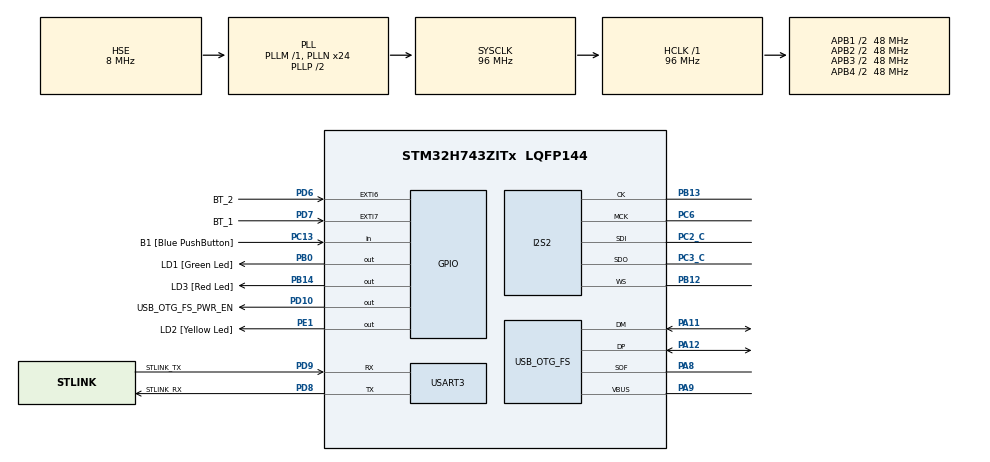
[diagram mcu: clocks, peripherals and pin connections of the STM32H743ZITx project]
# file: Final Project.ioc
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Dma.Request0=SPI2_TX
Dma.Request1=SPI2_RX
Dma.SPI2_RX.1.Direction=DMA_PERIPH_TO_MEMORY
Dma.SPI2_RX.1.EventEnable=DISABLE
Dma.SPI2_RX.1.FIFOMode=DMA_FIFOMODE_DISABLE
Dma.SPI2_RX.1.Instance=DMA1_Stream3
Dma.SPI2_RX.1.MemDataAlignment=DMA_MDATAALIGN_HALFWORD
Dma.SPI2_RX.1.MemInc=DMA_MINC_ENABLE
Dma.SPI2_RX.1.Mode=DMA_CIRCULAR
Dma.SPI2_RX.1.PeriphDataAlignment=DMA_PDATAALIGN_HALFWORD
Dma.SPI2_RX.1.PeriphInc=DMA_PINC_DISABLE
Dma.SPI2_RX.1.Polarity=HAL_DMAMUX_REQ_GEN_RISING
Dma.SPI2_RX.1.Priority=DMA_PRIORITY_HIGH
Dma.SPI2_RX.1.RequestNumber=1
Dma.SPI2_RX.1.SignalID=NONE
Dma.SPI2_RX.1.SyncEnable=DISABLE
Dma.SPI2_RX.1.SyncPolarity=HAL_DMAMUX_SYNC_NO_EVENT
Dma.SPI2_RX.1.SyncRequestNumber=1
Dma.SPI2_RX.1.SyncSignalID=NONE
Dma.SPI2_TX.0.Direction=DMA_MEMORY_TO_PERIPH
Dma.SPI2_TX.0.EventEnable=DISABLE
Dma.SPI2_TX.0.FIFOMode=DMA_FIFOMODE_DISABLE
Dma.SPI2_TX.0.Instance=DMA1_Stream4
Dma.SPI2_TX.0.MemDataAlignment=DMA_MDATAALIGN_HALFWORD
Dma.SPI2_TX.0.MemInc=DMA_MINC_ENABLE
Dma.SPI2_TX.0.Mode=DMA_CIRCULAR
Dma.SPI2_TX.0.PeriphDataAlignment=DMA_PDATAALIGN_HALFWORD
Dma.SPI2_TX.0.PeriphInc=DMA_PINC_DISABLE
Dma.SPI2_TX.0.Polarity=HAL_DMAMUX_REQ_GEN_RISING
Dma.SPI2_TX.0.Priority=DMA_PRIORITY_HIGH
Dma.SPI2_TX.0.RequestNumber=1
Dma.SPI2_TX.0.SignalID=NONE
Dma.SPI2_TX.0.SyncEnable=DISABLE
Dma.SPI2_TX.0.SyncPolarity=HAL_DMAMUX_SYNC_NO_EVENT
Dma.SPI2_TX.0.SyncRequestNumber=1
Dma.SPI2_TX.0.SyncSignalID=NONE
I2S2.AudioFreq=I2S_AUDIOFREQ_48K
I2S2.DataFormat=I2S_DATAFORMAT_16B_EXTENDED
I2S2.ErrorAudioFreq=4.16 %
I2S2.Instance=SPI$Index
I2S2.RealAudioFreq=50.0 KHz
Mcu.Family=STM32H7
Mcu.Name=STM32H743ZITx
Mcu.Package=LQFP144
NVIC.DMA1_Stream3_IRQn=true\:0\:0\:false\:false\:true\:false\:true
NVIC.DMA1_Stream4_IRQn=true\:0\:0\:false\:false\:true\:false\:true
NVIC.PriorityGroup=NVIC_PRIORITYGROUP_4
NVIC.SPI2_IRQn=true\:0\:0\:false\:false\:true\:true\:true
PA1.Signal=ETH_REF_CLK
PA11.Mode=Device_Only
PA11.Signal=USB_OTG_FS_DM
PA12.Mode=Device_Only
PA12.Signal=USB_OTG_FS_DP
PA2.Signal=ETH_MDIO
PA7.Signal=ETH_CRS_DV
PA8.Mode=Activate_SOF_FS
PA8.Signal=USB_OTG_FS_SOF
PA9.Mode=Activate_VBUS
PA9.Signal=USB_OTG_FS_VBUS
PB0.GPIO_Label=LD1 [Green Led]
PB0.Signal=GPIO_Output
PB12.Mode=Full_Duplex_Master
PB12.Signal=I2S2_WS
PB13.Mode=Full_Duplex_Master
PB13.Signal=I2S2_CK
PB14.GPIO_Label=LD3 [Red Led]
PB14.Signal=GPIO_Output
PC1.Signal=ETH_MDC
PC13.GPIO_Label=B1 [Blue PushButton]
PC13.Signal=GPIO_Input
PC14-OSC32_IN\ (OSC32_IN).Mode=LSE-External-Oscillator
PC14-OSC32_IN\ (OSC32_IN).Signal=RCC_OSC32_IN
PC15-OSC32_OUT\ (OSC32_OUT).Mode=LSE-External-Oscillator
PC15-OSC32_OUT\ (OSC32_OUT).Signal=RCC_OSC32_OUT
PC2_C.Mode=Full_Duplex_Master
PC2_C.Signal=I2S2_SDI
PC3_C.Mode=Full_Duplex_Master
PC3_C.Signal=I2S2_SDO
PC4.Signal=ETH_RXD0
PC5.Signal=ETH_RXD1
PC6.Mode=Master_Clock_Activated
PC6.Signal=I2S2_MCK
PD10.GPIO_Label=USB_OTG_FS_PWR_EN
PD10.Signal=GPIO_Output
PD6.GPIO_Label=BT_2
PD6.GPIO_ModeDefaultEXTI=GPIO_MODE_IT_FALLING
PD6.Signal=GPXTI6
PD7.GPIO_Label=BT_1
PD7.GPIO_ModeDefaultEXTI=GPIO_MODE_IT_FALLING
PD7.Signal=GPXTI7
PD8.GPIO_Label=STLINK_RX
PD8.Mode=Asynchronous
PD8.Signal=USART3_TX
PD9.GPIO_Label=STLINK_TX
PD9.Mode=Asynchronous
PD9.Signal=USART3_RX
PE1.GPIO_Label=LD2 [Yellow Led]
PE1.Signal=GPIO_Output
PG11.Signal=ETH_TX_EN
PG13.Signal=ETH_TXD0
PH0-OSC_IN\ (PH0).Mode=HSE-External-Clock-Source
PH0-OSC_IN\ (PH0).Signal=RCC_OSC_IN
PH1-OSC_OUT\ (PH1).Signal=RCC_OSC_OUT
ProjectManager.HeapSize=0x200
ProjectManager.StackSize=0x400
ProjectManager.TargetToolchain=STM32CubeIDE
RCC.ADCFreq_Value=16125000
RCC.APB1Freq_Value=48000000
RCC.APB2Freq_Value=48000000
RCC.APB3Freq_Value=48000000
RCC.APB4Freq_Value=48000000
RCC.CortexFreq_Value=96000000
RCC.D1PPRE=RCC_APB3_DIV2
RCC.D2PPRE1=RCC_APB1_DIV2
RCC.D2PPRE2=RCC_APB2_DIV2
RCC.D3PPRE=RCC_APB4_DIV2
RCC.DIVM1=1
RCC.DIVN1=24
RCC.DIVQ1=3
RCC.HCLKFreq_Value=96000000
RCC.HSE_VALUE=8000000
RCC.PLL2FRACN=0
RCC.PLL3FRACN=0
RCC.PLLFRACN=0
RCC.PWR_Regulator_Voltage_Scale=PWR_REGULATOR_VOLTAGE_SCALE2
RCC.SYSCLKFreq_VALUE=96000000
RCC.SYSCLKSource=RCC_SYSCLKSOURCE_PLLCLK
RCC.USBFreq_Value=64000000
TIM1.Period=11999
TIM1.TIM_MasterOutputTrigger=TIM_TRGO_UPDATE
USART3.VirtualMode-Asynchronous=VM_ASYNC
USB_OTG_FS.VirtualMode=Device_Only
VP_TIM1_VS_ClockSourceINT.Mode=Internal
board=NUCLEO-H743ZI2

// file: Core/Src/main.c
/* USER CODE BEGIN Header */
/**
  ******************************************************************************
  * @file           : main.c
  * @brief          : Main program body
  ******************************************************************************
  * @attention
  *
  * Copyright (c) 2022 STMicroelectronics.
  * All rights reserved.
  *
  * This software is licensed under terms that can be found in the LICENSE file
  * in the root directory of this software component.
  * If no LICENSE file comes with this software, it is provided AS-IS.
  *
  ******************************************************************************
  */
/* USER CODE END Header */
#include "main.h"

I2S_HandleTypeDef hi2s2;
DMA_HandleTypeDef hdma_spi2_tx;
DMA_HandleTypeDef hdma_spi2_rx;

TIM_HandleTypeDef htim1;

UART_HandleTypeDef huart3;

PCD_HandleTypeDef hpcd_USB_OTG_FS;

void SystemClock_Config(void);
static void MX_GPIO_Init(void);
static void MX_USART3_UART_Init(void);
static void MX_DMA_Init(void);
static void MX_I2S2_Init(void);
static void MX_USB_OTG_FS_PCD_Init(void);
static void MX_TIM1_Init(void);

/* USER CODE BEGIN 0 */
#define BUF_SIZE 8
#define SAMPLE_RATE 48000 //Hz

//used for delay effect
#define DELAY_TIME 0.2 //seconds
#define DELAY_LENGTH (SAMPLE_RATE * DELAY_TIME)

uint16_t rxBuf[BUF_SIZE];
uint16_t txBuf[BUF_SIZE];

int effect_state = 1; //this variable can be any value from 1 to 8
//each value corresponds to a different effect
// 1-tremolo
// 2-chorus
// 3-reverb
// 4-vibrato
// 5-flanger
// 6-delay
// 7-wah
// 8-distortion

// Tremolo effect
int tremoloDirection = 1; // 0 is up, 1 is down
float tremoloLowerThresh = 0.1;
float tremoloUpperThresh = 1.0;
float tremoloSpeed = 0.00005;
float tremoloMod = 1.0;

int tremolo(int sample) {
	// multiple sample by triangle wave from 0.5 to 1
	// 0 means go down, 1 means go up

	float fSample = (float)sample;
	if (tremoloDirection == 0){
		tremoloMod = tremoloMod + tremoloSpeed;
	}
	else{
		tremoloMod = tremoloMod - tremoloSpeed;
	}
	if (tremoloMod <= tremoloLowerThresh){
		tremoloDirection = 0;
	}
	else if (tremoloMod >= tremoloUpperThresh){
		tremoloDirection = 1;
	}
	fSample = tremoloMod*fSample;
	return (int)fSample;
}

// Chorus effect
int chorusCurrentVal_1 = 0;
float chorusDelay_1 = 0.050*SAMPLE_RATE;
//float chorusCircleBuff_1[(int)chorusDelay_1];
float chorusCircleBuff_1[1200];
int chorusCurrentVal_2 = 0;
float chorusDelay_2 = 0.025*SAMPLE_RATE;
//float chorusCircleBuff_2[(int)chorusDelay_2];
float chorusCircleBuff_2[480];
float chorusGain = 1.0;
int chorus(int sample) {
	float fSample = (float)sample;
	float newest = fSample;
	chorusCircleBuff_1[chorusCurrentVal_1] = newest;
	chorusCircleBuff_2[chorusCurrentVal_2] = newest;
	chorusCurrentVal_1++;
	chorusCurrentVal_2++;
	//if (currentVal_1 == chorusDelay_1 - 1)
if (chorusCurrentVal_1 == (1200 - 1))
	{
	chorusCurrentVal_1 = 0;
	}
	if (chorusCurrentVal_2 == (480 - 1))
	{
		chorusCurrentVal_2 = 0;
	}

	float chorusReturnVal_1 = chorusCircleBuff_1[chorusCurrentVal_1];
	float chorusReturnVal_2 = chorusCircleBuff_2[chorusCurrentVal_2];
	fSample = chorusReturnVal_1*chorusGain + chorusReturnVal_2*chorusGain  + newest;
	return (int)fSample;
}

// Reverb effect
int reverbCurrentVal_1 = 0;
int reverbCurrentVal_2 = 0;
int reverbCurrentVal_3 = 0;
int reverbCurrentVal_4 = 0;

int reverbLength_1 = 901*4;
int reverbLength_2 = 778*4;
int reverbLength_3 = 1011*4;
int reverbLength_4 = 1123*4;

float reverbCircBuff_1[901*4];
float reverbCircBuff_2[778*4];
float reverbCircBuff_3[1011*4];
float reverbCircBuff_4[1123*4];

float reverbGain_1 = 0.805;
float reverbGain_2 = 0.827;
float reverbGain_3 = 0.783;
float reverbGain_4 = 0.764;

int reverbCurrentVal_5 = 0;
int reverbCurrentVal_6 = 0;
int reverbCurrentVal_7 = 0;

int reverbLength_5 = 125*4;
int reverbLength_6 = 42*4;
int reverbLength_7 = 12*4;

float reverbCircBuff_5[125*4];
float reverbCircBuff_6[42*4];
float reverbCircBuff_7[12*4];

float reverbGain_5 = 0.7;
float reverbGain_6 = 0.7;
float reverbGain_7 = 0.7;

float reverbMix = 0.3;

int reverb(int sample){
	float fSample = (float)sample;
	float fSample_1 = (float)sample;

	float returnVal_1 = reverbCircBuff_1[reverbCurrentVal_1];
	float returnVal_2 = reverbCircBuff_2[reverbCurrentVal_2];
	float returnVal_3 = reverbCircBuff_3[reverbCurrentVal_3];
	float returnVal_4 = reverbCircBuff_4[reverbCurrentVal_4];

	float newest_1 = returnVal_1*reverbGain_1 + fSample;
	float newest_2 = returnVal_2*reverbGain_2 + fSample;
	float newest_3 = returnVal_3*reverbGain_3 + fSample;
	float newest_4 = returnVal_4*reverbGain_4 + fSample;

	reverbCircBuff_1[reverbCurrentVal_1] = newest_1;
	reverbCircBuff_2[reverbCurrentVal_2] = newest_2;
	reverbCircBuff_3[reverbCurrentVal_3] = newest_3;
	reverbCircBuff_4[reverbCurrentVal_4] = newest_4;

	reverbCurrentVal_1++;
	reverbCurrentVal_2++;
	reverbCurrentVal_3++;
	reverbCurrentVal_4++;

	if (reverbCurrentVal_1 == reverbLength_1 - 1){
		reverbCurrentVal_1 = 0;
	}
	if (reverbCurrentVal_2 == reverbLength_2 - 1){
		reverbCurrentVal_2 = 0;
	}
	if (reverbCurrentVal_3 == reverbLength_3 - 1){
		reverbCurrentVal_3 = 0;
	}
	if (reverbCurrentVal_4 == reverbLength_4 - 1){
		reverbCurrentVal_4 = 0;
	}

	fSample = (returnVal_1 + returnVal_2 + returnVal_3 + returnVal_4)/4;

	float returnVal_5 = reverbCircBuff_5[reverbCurrentVal_5];
	returnVal_5 = fSample - returnVal_5*reverbGain_5;
	float newest_5 = fSample + returnVal_5*reverbGain_5;
	reverbCircBuff_5[reverbCurrentVal_5] = newest_5;
	reverbCurrentVal_5++;
	if (reverbCurrentVal_5 == reverbLength_5 - 1){
		reverbCurrentVal_5 = 0;
	}
	fSample = returnVal_5;
	float returnVal_6 = reverbCircBuff_6[reverbCurrentVal_6];
	returnVal_6 = fSample - returnVal_6*reverbGain_6;
	float newest_6 = fSample + returnVal_6*reverbGain_6;
	reverbCircBuff_6[reverbCurrentVal_6] = newest_6;
	reverbCurrentVal_6++;
	if (reverbCurrentVal_6 == reverbLength_6 - 1){
		reverbCurrentVal_6 = 0;
	}
	fSample = returnVal_6;
	float returnVal_7 = reverbCircBuff_7[reverbCurrentVal_7];
	returnVal_7 = fSample - returnVal_7*reverbGain_7;
	float newest_7 = fSample + returnVal_7*reverbGain_7;
	reverbCircBuff_7[reverbCurrentVal_7] = newest_7;
	reverbCurrentVal_7++;
	if (reverbCurrentVal_7 == reverbLength_7 - 1){
		reverbCurrentVal_7 = 0;
	}
	fSample = returnVal_7*reverbMix + (1 - reverbMix)*fSample_1;

	return (int)fSample;
}

// Vibrato effect
int vibratoCurrentVal = 0;
//int vibratoBufferLength = 0.01*SAMPLE_RATE; // equals 480. 10 ms buffer
int vibratoBufferLength = 480*2;
int vibratoModLength = 240*2;
// circle buff length is BUFFER + WIDTH + WIDTH
//float vibratoCircleBuff[vibratoBufferLength];
//int vibratoBufferLengthFull = vibratoBufferLength + vibratoModLength + vibratoModLength;
int vibratoBufferLengthFull = 480*2 + 240*2 + 240*2;
//float vibratoCircleBuff[vibratoBufferLengthFull];
float vibratoCircleBuff[(480+240+240)*2];
//float vibratoSinCal;
float vibratoFreq = 5.0/48000.0; // frequency of 5 Hz

int vibrato(int sample){
//	sample = sample/4;
	float fSample = (float)sample;
	float newest = fSample;
	vibratoCircleBuff[vibratoCurrentVal] = newest;
	vibratoCurrentVal++;

	if (vibratoCurrentVal == (vibratoBufferLengthFull-1)){
		vibratoCurrentVal = 0;
	}
	float vibratoCurrentValF = (float)vibratoCurrentVal;
	float vibratoSinCalc = (float)sin(vibratoFreq*2*M_PI*vibratoCurrentValF);
//	float vibratoSinCalc = 0.001;
//	float vibratoCalc = (float)vibratoBufferLength + (float)vibratoModLength + (float)(vibratoModLength)*vibratoSinCalc - 1.0f;
	float vibratoCalc = (float)vibratoBufferLength + (float)(vibratoModLength)*vibratoSinCalc - 1.0f;
//	float vibratoCalc = 958.0;
	float vibratoCalcRemainder = vibratoCalc - floor(vibratoCalc);
	int vibratoCalcInt = (int)floor(vibratoCalc);
//	int vibratoCalcInt = 20;
	int vibratoReturnInt;
	if (vibratoCalcInt % 2 == 0){
		vibratoReturnInt = (vibratoCurrentVal + vibratoCalcInt) % (vibratoBufferLengthFull-1);
	}
	else{
		vibratoReturnInt = (vibratoCurrentVal + vibratoCalcInt - 1) % (vibratoBufferLengthFull-1);
	}
	int vibratoReturnInt2 = vibratoReturnInt - 2;
	if (vibratoReturnInt2 < 0){
		vibratoReturnInt2 = vibratoReturnInt2 + vibratoBufferLengthFull;
	}
	float vibratoReturnVal = vibratoCalcRemainder*vibratoCircleBuff[vibratoReturnInt] + (1- vibratoCalcRemainder)*vibratoCircleBuff[vibratoReturnInt2];
	//float vibratoReturnVal = vibratoCircleBuff[vibratoCurrentVal];
	return (int)vibratoReturnVal;
}

//Wah effect
float wahDamping = 0.05;
int wahDirection = 0; // 0 is up, 1 is down
float wahLowerThresh = 500.0;
float wahUpperThresh = 3000.0;
float wahSpeed = 48000/SAMPLE_RATE;
float wahMod = 500.0;
float wahHighpass = 0;
float wahLowpass = 0;
float wahBandpass = 0;

int wah(int sample)
{
	float fSample = (float)sample;

	if (wahDirection == 0){
		wahMod = wahMod + wahSpeed;
	}
	else{
		wahMod = wahMod - wahSpeed;
	}
	if (wahMod <= wahLowerThresh){
		wahDirection = 0;
	}
	else if (wahMod >= wahUpperThresh){
		wahDirection = 1;
	}

	float wahNewest = (float)(2*sin((M_PI*wahMod)/48000));

	wahHighpass = (float)(fSample - wahLowpass - (2*wahDamping*wahBandpass));
	wahBandpass = (float)((wahNewest*wahHighpass) + wahBandpass);
	wahLowpass = (float)((wahNewest*wahBandpass) + wahLowpass);

	return (int)wahBandpass;
}

// Delay effect
int delayCurrentVal = 0;
float delayBuff[(int)DELAY_LENGTH];
float delayGain = 0.8;
int delay(int sample)
{
	float fSample = (float)sample;
	float delayReturnVal = delayBuff[delayCurrentVal];
	float delayNewest = delayReturnVal*delayGain + fSample;
	delayBuff[delayCurrentVal] = delayNewest;
	delayCurrentVal++;
	if (delayCurrentVal == (int)DELAY_LENGTH - 1)
	{
		delayCurrentVal = 0;
	}
	fSample = delayReturnVal;
	return (int)fSample;
}

//Distortion effect
int distortion(int sample) // fuzz
{
	float fSample = (float)sample;
	//float returnVal = (fSample/abs(fSample)) * (1 - exp((pow(fSample, 2)) / abs(fSample)));

	float distortionReturnVal = (fSample/abs(fSample)) * (1 - (float)exp(0.7*pow(fSample, 2) / abs(fSample)));

	distortionReturnVal = distortionReturnVal + fSample;
	return (int)distortionReturnVal;
}

// Flanger effect
int flangerCurrentVal = 0;
float flangerRate = 1.0; //1 Hz
int flangerBufferLength = 0.003*SAMPLE_RATE;
float flangerGain = 0.7;
float flangerBuff[8640];

int flanger(int sample)
{
	float fSample = (float)sample;
	float flangerNewest;
	float flangerSinMod = abs(sin(2*M_PI*flangerCurrentVal*(flangerRate/SAMPLE_RATE)));
	//currentVal++;

	if (flangerCurrentVal <= flangerBufferLength)
	{
		flangerNewest = fSample;
	}

	else
	{
		int flangerDelay = ceil((flangerSinMod * flangerBufferLength));
		flangerNewest = (float)((flangerGain * fSample) + (flangerGain * flangerBuff[flangerCurrentVal - flangerDelay]));
	}

	flangerBuff[flangerCurrentVal] = flangerNewest;
	float flangerReturnVal = flangerBuff[flangerCurrentVal];
	flangerCurrentVal++;

	if (flangerCurrentVal == 8640)
	{
		flangerCurrentVal = 0;
	}

	return (int)flangerReturnVal;
}

/* USER CODE END 0 */

int main(void)
{

  /* MCU Configuration--------------------------------------------------------*/

  /* Reset of all peripherals, Initializes the Flash interface and the Systick. */
  HAL_Init();

  /* Configure the system clock */
  SystemClock_Config();

  /* Initialize all configured peripherals */
  MX_GPIO_Init();
  MX_USART3_UART_Init();
  MX_DMA_Init();
  MX_I2S2_Init();
  MX_USB_OTG_FS_PCD_Init();
  MX_TIM1_Init();
  /* USER CODE BEGIN 2 */

  HAL_I2SEx_TransmitReceive_DMA (&hi2s2, txBuf, rxBuf, 4);

  /* USER CODE END 2 */

  /* Infinite loop */
  while (1)
  {

  }
}

void SystemClock_Config(void)
{
  RCC_OscInitTypeDef RCC_OscInitStruct = {0};
  RCC_ClkInitTypeDef RCC_ClkInitStruct = {0};

  /** Supply configuration update enable
  */
  HAL_PWREx_ConfigSupply(PWR_LDO_SUPPLY);
  /** Configure the main internal regulator output voltage
  */
  __HAL_PWR_VOLTAGESCALING_CONFIG(PWR_REGULATOR_VOLTAGE_SCALE2);

  while(!__HAL_PWR_GET_FLAG(PWR_FLAG_VOSRDY)) {}
  /** Initializes the RCC Oscillators according to the specified parameters
  * in the RCC_OscInitTypeDef structure.
  */
  RCC_OscInitStruct.OscillatorType = RCC_OSCILLATORTYPE_HSE;
  RCC_OscInitStruct.HSEState = RCC_HSE_BYPASS;
  RCC_OscInitStruct.PLL.PLLState = RCC_PLL_ON;
  RCC_OscInitStruct.PLL.PLLSource = RCC_PLLSOURCE_HSE;
  RCC_OscInitStruct.PLL.PLLM = 1;
  RCC_OscInitStruct.PLL.PLLN = 24;
  RCC_OscInitStruct.PLL.PLLP = 2;
  RCC_OscInitStruct.PLL.PLLQ = 3;
  RCC_OscInitStruct.PLL.PLLR = 2;
  RCC_OscInitStruct.PLL.PLLRGE = RCC_PLL1VCIRANGE_3;
  RCC_OscInitStruct.PLL.PLLVCOSEL = RCC_PLL1VCOWIDE;
  RCC_OscInitStruct.PLL.PLLFRACN = 0;
  if (HAL_RCC_OscConfig(&RCC_OscInitStruct) != HAL_OK)
  {
    Error_Handler();
  }
  /** Initializes the CPU, AHB and APB buses clocks
  */
  RCC_ClkInitStruct.ClockType = RCC_CLOCKTYPE_HCLK|RCC_CLOCKTYPE_SYSCLK
                              |RCC_CLOCKTYPE_PCLK1|RCC_CLOCKTYPE_PCLK2
                              |RCC_CLOCKTYPE_D3PCLK1|RCC_CLOCKTYPE_D1PCLK1;
  RCC_ClkInitStruct.SYSCLKSource = RCC_SYSCLKSOURCE_PLLCLK;
  RCC_ClkInitStruct.SYSCLKDivider = RCC_SYSCLK_DIV1;
  RCC_ClkInitStruct.AHBCLKDivider = RCC_HCLK_DIV1;
  RCC_ClkInitStruct.APB3CLKDivider = RCC_APB3_DIV2;
  RCC_ClkInitStruct.APB1CLKDivider = RCC_APB1_DIV2;
  RCC_ClkInitStruct.APB2CLKDivider = RCC_APB2_DIV2;
  RCC_ClkInitStruct.APB4CLKDivider = RCC_APB4_DIV2;

  if (HAL_RCC_ClockConfig(&RCC_ClkInitStruct, FLASH_LATENCY_1) != HAL_OK)
  {
    Error_Handler();
  }
}

static void MX_I2S2_Init(void)
{

  hi2s2.Instance = SPI2;
  hi2s2.Init.Mode = I2S_MODE_MASTER_FULLDUPLEX;
  hi2s2.Init.Standard = I2S_STANDARD_PHILIPS;
  hi2s2.Init.DataFormat = I2S_DATAFORMAT_16B_EXTENDED;
  hi2s2.Init.MCLKOutput = I2S_MCLKOUTPUT_ENABLE;
  hi2s2.Init.AudioFreq = I2S_AUDIOFREQ_48K;
  hi2s2.Init.CPOL = I2S_CPOL_LOW;
  hi2s2.Init.FirstBit = I2S_FIRSTBIT_MSB;
  hi2s2.Init.WSInversion = I2S_WS_INVERSION_DISABLE;
  hi2s2.Init.Data24BitAlignment = I2S_DATA_24BIT_ALIGNMENT_RIGHT;
  hi2s2.Init.MasterKeepIOState = I2S_MASTER_KEEP_IO_STATE_DISABLE;
  if (HAL_I2S_Init(&hi2s2) != HAL_OK)
  {
    Error_Handler();
  }

}

static void MX_TIM1_Init(void)
{

  TIM_ClockConfigTypeDef sClockSourceConfig = {0};
  TIM_MasterConfigTypeDef sMasterConfig = {0};

  htim1.Instance = TIM1;
  htim1.Init.Prescaler = 0;
  htim1.Init.CounterMode = TIM_COUNTERMODE_UP;
  htim1.Init.Period = 11999;
  htim1.Init.ClockDivision = TIM_CLOCKDIVISION_DIV1;
  htim1.Init.RepetitionCounter = 0;
  htim1.Init.AutoReloadPreload = TIM_AUTORELOAD_PRELOAD_DISABLE;
  if (HAL_TIM_Base_Init(&htim1) != HAL_OK)
  {
    Error_Handler();
  }
  sClockSourceConfig.ClockSource = TIM_CLOCKSOURCE_INTERNAL;
  if (HAL_TIM_ConfigClockSource(&htim1, &sClockSourceConfig) != HAL_OK)
  {
    Error_Handler();
  }
  sMasterConfig.MasterOutputTrigger = TIM_TRGO_UPDATE;
  sMasterConfig.MasterOutputTrigger2 = TIM_TRGO2_RESET;
  sMasterConfig.MasterSlaveMode = TIM_MASTERSLAVEMODE_DISABLE;
  if (HAL_TIMEx_MasterConfigSynchronization(&htim1, &sMasterConfig) != HAL_OK)
  {
    Error_Handler();
  }

}

static void MX_USART3_UART_Init(void)
{

  huart3.Instance = USART3;
  huart3.Init.BaudRate = 115200;
  huart3.Init.WordLength = UART_WORDLENGTH_8B;
  huart3.Init.StopBits = UART_STOPBITS_1;
  huart3.Init.Parity = UART_PARITY_NONE;
  huart3.Init.Mode = UART_MODE_TX_RX;
  huart3.Init.HwFlowCtl = UART_HWCONTROL_NONE;
  huart3.Init.OverSampling = UART_OVERSAMPLING_16;
  huart3.Init.OneBitSampling = UART_ONE_BIT_SAMPLE_DISABLE;
  huart3.Init.ClockPrescaler = UART_PRESCALER_DIV1;
  huart3.AdvancedInit.AdvFeatureInit = UART_ADVFEATURE_NO_INIT;
  if (HAL_UART_Init(&huart3) != HAL_OK)
  {
    Error_Handler();
  }
  if (HAL_UARTEx_SetTxFifoThreshold(&huart3, UART_TXFIFO_THRESHOLD_1_8) != HAL_OK)
  {
    Error_Handler();
  }
  if (HAL_UARTEx_SetRxFifoThreshold(&huart3, UART_RXFIFO_THRESHOLD_1_8) != HAL_OK)
  {
    Error_Handler();
  }
  if (HAL_UARTEx_DisableFifoMode(&huart3) != HAL_OK)
  {
    Error_Handler();
  }

}

static void MX_USB_OTG_FS_PCD_Init(void)
{

  hpcd_USB_OTG_FS.Instance = USB_OTG_FS;
  hpcd_USB_OTG_FS.Init.dev_endpoints = 9;
  hpcd_USB_OTG_FS.Init.speed = PCD_SPEED_FULL;
  hpcd_USB_OTG_FS.Init.dma_enable = DISABLE;
  hpcd_USB_OTG_FS.Init.phy_itface = PCD_PHY_EMBEDDED;
  hpcd_USB_OTG_FS.Init.Sof_enable = ENABLE;
  hpcd_USB_OTG_FS.Init.low_power_enable = DISABLE;
  hpcd_USB_OTG_FS.Init.lpm_enable = DISABLE;
  hpcd_USB_OTG_FS.Init.battery_charging_enable = ENABLE;
  hpcd_USB_OTG_FS.Init.vbus_sensing_enable = ENABLE;
  hpcd_USB_OTG_FS.Init.use_dedicated_ep1 = DISABLE;
  if (HAL_PCD_Init(&hpcd_USB_OTG_FS) != HAL_OK)
  {
    Error_Handler();
  }

}

static void MX_DMA_Init(void)
{

  /* DMA controller clock enable */
  __HAL_RCC_DMA1_CLK_ENABLE();

  /* DMA interrupt init */
  /* DMA1_Stream3_IRQn interrupt configuration */
  HAL_NVIC_SetPriority(DMA1_Stream3_IRQn, 0, 0);
  HAL_NVIC_EnableIRQ(DMA1_Stream3_IRQn);
  /* DMA1_Stream4_IRQn interrupt configuration */
  HAL_NVIC_SetPriority(DMA1_Stream4_IRQn, 0, 0);
  HAL_NVIC_EnableIRQ(DMA1_Stream4_IRQn);

}

static void MX_GPIO_Init(void)
{
  GPIO_InitTypeDef GPIO_InitStruct = {0};

  /* GPIO Ports Clock Enable */
  __HAL_RCC_GPIOC_CLK_ENABLE();
  __HAL_RCC_GPIOH_CLK_ENABLE();
  __HAL_RCC_GPIOA_CLK_ENABLE();
  __HAL_RCC_GPIOB_CLK_ENABLE();
  __HAL_RCC_GPIOD_CLK_ENABLE();
  __HAL_RCC_GPIOG_CLK_ENABLE();
  __HAL_RCC_GPIOE_CLK_ENABLE();

  /*Configure GPIO pin Output Level */
  HAL_GPIO_WritePin(GPIOB, LD1_Pin|LD3_Pin, GPIO_PIN_RESET);

  /*Configure GPIO pin Output Level */
  HAL_GPIO_WritePin(USB_OTG_FS_PWR_EN_GPIO_Port, USB_OTG_FS_PWR_EN_Pin, GPIO_PIN_RESET);

  /*Configure GPIO pin Output Level */
  HAL_GPIO_WritePin(LD2_GPIO_Port, LD2_Pin, GPIO_PIN_RESET);

  /*Configure GPIO pin : B1_Pin */
  GPIO_InitStruct.Pin = B1_Pin;
  GPIO_InitStruct.Mode = GPIO_MODE_INPUT;
  GPIO_InitStruct.Pull = GPIO_NOPULL;
  HAL_GPIO_Init(B1_GPIO_Port, &GPIO_InitStruct);

  /*Configure GPIO pins : PC1 PC4 PC5 */
  GPIO_InitStruct.Pin = GPIO_PIN_1|GPIO_PIN_4|GPIO_PIN_5;
  GPIO_InitStruct.Mode = GPIO_MODE_AF_PP;
  GPIO_InitStruct.Pull = GPIO_NOPULL;
  GPIO_InitStruct.Speed = GPIO_SPEED_FREQ_LOW;
  GPIO_InitStruct.Alternate = GPIO_AF11_ETH;
  HAL_GPIO_Init(GPIOC, &GPIO_InitStruct);

  /*Configure GPIO pins : PA1 PA2 PA7 */
  GPIO_InitStruct.Pin = GPIO_PIN_1|GPIO_PIN_2|GPIO_PIN_7;
  GPIO_InitStruct.Mode = GPIO_MODE_AF_PP;
  GPIO_InitStruct.Pull = GPIO_NOPULL;
  GPIO_InitStruct.Speed = GPIO_SPEED_FREQ_LOW;
  GPIO_InitStruct.Alternate = GPIO_AF11_ETH;
  HAL_GPIO_Init(GPIOA, &GPIO_InitStruct);

  /*Configure GPIO pins : LD1_Pin LD3_Pin */
  GPIO_InitStruct.Pin = LD1_Pin|LD3_Pin;
  GPIO_InitStruct.Mode = GPIO_MODE_OUTPUT_PP;
  GPIO_InitStruct.Pull = GPIO_NOPULL;
  GPIO_InitStruct.Speed = GPIO_SPEED_FREQ_LOW;
  HAL_GPIO_Init(GPIOB, &GPIO_InitStruct);

  /*Configure GPIO pin : USB_OTG_FS_PWR_EN_Pin */
  GPIO_InitStruct.Pin = USB_OTG_FS_PWR_EN_Pin;
  GPIO_InitStruct.Mode = GPIO_MODE_OUTPUT_PP;
  GPIO_InitStruct.Pull = GPIO_NOPULL;
  GPIO_InitStruct.Speed = GPIO_SPEED_FREQ_LOW;
  HAL_GPIO_Init(USB_OTG_FS_PWR_EN_GPIO_Port, &GPIO_InitStruct);

  /*Configure GPIO pins : BT_2_Pin BT_1_Pin */
  GPIO_InitStruct.Pin = BT_2_Pin|BT_1_Pin;
  GPIO_InitStruct.Mode = GPIO_MODE_IT_FALLING;
  GPIO_InitStruct.Pull = GPIO_NOPULL;
  HAL_GPIO_Init(GPIOD, &GPIO_InitStruct);

  /*Configure GPIO pins : PG11 PG13 */
  GPIO_InitStruct.Pin = GPIO_PIN_11|GPIO_PIN_13;
  GPIO_InitStruct.Mode = GPIO_MODE_AF_PP;
  GPIO_InitStruct.Pull = GPIO_NOPULL;
  GPIO_InitStruct.Speed = GPIO_SPEED_FREQ_LOW;
  GPIO_InitStruct.Alternate = GPIO_AF11_ETH;
  HAL_GPIO_Init(GPIOG, &GPIO_InitStruct);

  /*Configure GPIO pin : LD2_Pin */
  GPIO_InitStruct.Pin = LD2_Pin;
  GPIO_InitStruct.Mode = GPIO_MODE_OUTPUT_PP;
  GPIO_InitStruct.Pull = GPIO_NOPULL;
  GPIO_InitStruct.Speed = GPIO_SPEED_FREQ_LOW;
  HAL_GPIO_Init(LD2_GPIO_Port, &GPIO_InitStruct);

}

/* USER CODE BEGIN 4 */
void HAL_I2SEx_TxRxHalfCpltCallback(I2S_HandleTypeDef *hi2s){

	int lSample = (int) (rxBuf[0]<<16)|rxBuf[4];
	int rSample = (int) (rxBuf[1]<<16)|rxBuf[2];

	if (effect_state == 1)
	{
		rSample = tremolo(rSample);
	}
	else if (effect_state == 2)
	{
		rSample = chorus(rSample);
	}

	else if (effect_state == 3)
	{
		rSample = reverb(rSample);
	}

	else if (effect_state == 4)
	{
		rSample = vibrato(rSample);
	}

	else if (effect_state == 8)
	{
		rSample = distortion(rSample);
	}

	else if (effect_state == 6)
	{
		rSample = delay(rSample);
	}

	else if (effect_state == 7)
	{
		rSample = wah(rSample);
	}

	else if (effect_state == 5)
	{
		rSample = flanger(rSample);
	}

	txBuf[0] = 0;
	txBuf[4] = 0;
	txBuf[1] = (rSample>>16)&0xFFFF;
	txBuf[2] = rSample&0xFFFF;
}

void HAL_I2SEx_TxRxCpltCallback(I2S_HandleTypeDef *hi2s){

	int lSample = (int) (rxBuf[4]<<16)|rxBuf[7];
	int rSample = (int) (rxBuf[5]<<16)|rxBuf[6];

	if (effect_state == 1)
	{
		rSample = tremolo(rSample);
	}
	else if (effect_state == 2)
	{
		rSample = chorus(rSample);
	}

	else if (effect_state == 3)
	{
		rSample = reverb(rSample);
	}

	else if (effect_state == 4)
	{
		rSample = vibrato(rSample);
	}

	else if (effect_state == 8)
	{
		rSample = distortion(rSample);
	}

	else if (effect_state == 6)
	{
		rSample = delay(rSample);
	}

	else if (effect_state == 7)
	{
		rSample = wah(rSample);
	}

	else if (effect_state == 5)
	{
		rSample = flanger(rSample);
	}

	txBuf[5] = (rSample>>16)&0xFFFF;
	txBuf[6] = rSample&0xFFFF;
	txBuf[0] = 0;
	txBuf[4] = 0;
}
/* USER CODE END 4 */

void Error_Handler(void)
{
  __disable_irq();
  while (1)
  {
  }
}
